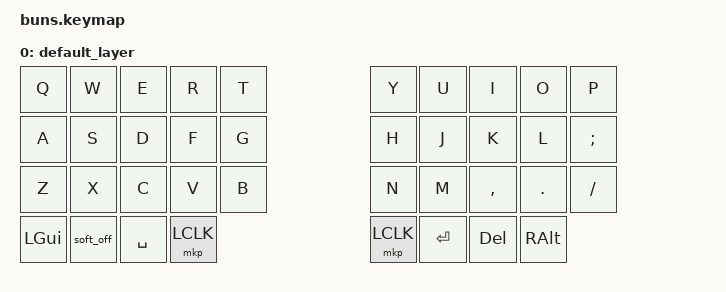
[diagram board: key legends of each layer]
#include <behaviors.dtsi>
#include <dt-bindings/zmk/keys.h>
#include <dt-bindings/zmk/pointing.h>

&soft_off {
  hold-time-ms = <5000>; // Only turn off it the key is held for 5 seconds or longer.
};

/ {
  keymap
    {
      compatible = "zmk,keymap";

      default_layer {
        // -----------------------------------------------------------------------------------------
        // |  Q  |  W  |  E  |  R  |  T  |      |  Y  |   U   |  I  |  O  |  P  |
        // |  A  |  S  |  D  |  F  |  G  |      |  H  |   J   |  K  |  L  |  ;  |
        // |  Z  |  X  |  C  |  V  |  B  |      |  N  |   M   |  ,  |  .  |  /  |
        //  | GUI | off | SPC |  ms Click |   |  ms Click | ENT | DEL | ALT |
        bindings = <
            &kp Q &kp W &kp E &kp R &kp T               &kp Y &kp U  &kp I     &kp O   &kp P   
            &kp A &kp S &kp D &kp F &kp G               &kp H &kp J  &kp K     &kp L   &kp SEMI
            &kp Z &kp X &kp C &kp V &kp B               &kp N &kp M  &kp COMMA &kp DOT &kp FSLH
            &kp LGUI &soft_off &kp SPACE &mkp LCLK  &mkp LCLK &kp RET &kp DEL &kp RALT
                  >;
        };
    };
};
